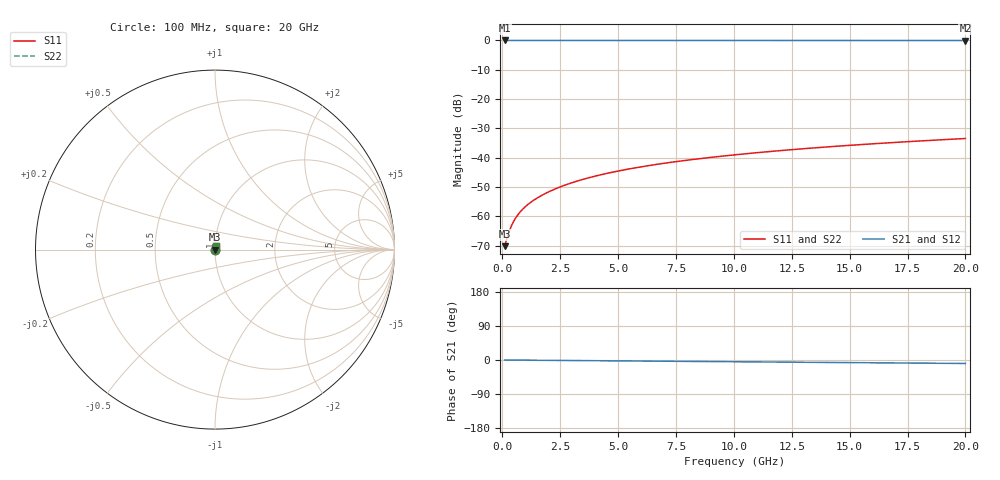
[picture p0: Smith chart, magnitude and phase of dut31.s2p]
! Touchstone file exported from HFSS 2026.1.0
!  File:  C:/ffzhzh/LocalFiles/Ansys_Project_Files/temp_train_TSV_31_1782958404_45308.aedt
!  Generated:  10:14:48 AM Jul  2, 2026
!  Design:  TSV
!  Project:  temp_train_TSV_31_1782958404_45308
! Variables:
!  h_bsmrdl = 2um
!  h_ox = 20um
!  h_rdl = 5um
!  h_sub = 95.06um
!  h_tmrdl = 5um
!  h_tsv = 95.06um
!  h_via = 3um
!  l_bsmrdl = 300um
!  l_sub = 413.84um
!  l_tmrdl = 200um
!  m_sub = 200um
!  pitch = 33.49um
!  r_tsv = 6.92um
!  s_tmrdl = 10um
!  w_bsmrdl = 18um
!  w_sub = 500um
!  w_tmrdl = 12um
!  x_tsv_center1 = 206um
!  x_tsv_center2 = 524um
!  x_tsv_center3 = 736um
!  x_tsv_center4 = 1054um
!  x_tsv_center5 = 1266um
!  x_tsv_center6 = 1584um
# GHz S MA R 50.000000
! Terminal data exported
! Port[1] = TSV1_1_T1
! Port[2] = TSV1_1_T2
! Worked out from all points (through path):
!   200 points, 100 MHz to 20 GHz, reference 50 ohm
!   highest |S21| = 0.00 dB at 100 MHz (marker M1); lowest = 0.0 dB at 20 GHz (marker M2)
!   group delay of S21, straight-line fit = 1.27 ps
!   lowest |S11| = -70.2 dB at 100 MHz (marker M3), VSWR 1.00, Z = 50 + j0.016 ohm
!   |S11| at or under -10 dB: start of sweep to end of sweep
!   |S22| runs from -70.2 to -33.4 dB; largest |S21 - S12| = 1.9e-15
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0.1  0.0003105 31.1  0.9997 -0.0  0.9997 -0.0  0.0003105 31.1
! Gamma 0 0 0 0
! Port Impedance 50 0 50 0
0.2  0.0004231 48.7  0.9997 -0.1  0.9997 -0.1  0.0004231 48.7
0.3  0.0005579 57.5  0.9997 -0.1  0.9997 -0.1  0.0005579 57.5
0.4  0.0006974 62.2  0.9997 -0.2  0.9997 -0.2  0.0006974 62.2
0.5  0.0008354 64.9  0.9996 -0.2  0.9996 -0.2  0.0008354 64.9
0.6  0.0009697 66.7  0.9996 -0.3  0.9996 -0.3  0.0009697 66.7
0.8  0.001226 68.9  0.9996 -0.4  0.9996 -0.4  0.001226 68.9
1.1  0.001588 71.0  0.9995 -0.5  0.9995 -0.5  0.001588 71.0
1.5  0.00205 73.0  0.9994 -0.7  0.9994 -0.7  0.00205 73.0
1.8  0.002391 74.1  0.9994 -0.8  0.9994 -0.8  0.002391 74.1
2.1  0.00273 75.0  0.9993 -1.0  0.9993 -1.0  0.00273 75.0
2.7  0.003405 76.3  0.9993 -1.3  0.9993 -1.3  0.003405 76.3
3.5  0.004296 77.3  0.9992 -1.6  0.9992 -1.6  0.004296 77.3
4.2  0.005065 77.7  0.9991 -2.0  0.9991 -2.0  0.005065 77.7
5  0.005932 78.0  0.999 -2.3  0.999 -2.3  0.005932 78.0
5.9  0.006893 78.2  0.9989 -2.7  0.9989 -2.7  0.006893 78.2
6.8  0.007844 78.3  0.9988 -3.1  0.9988 -3.1  0.007844 78.3
8.3  0.009411 78.3  0.9987 -3.8  0.9987 -3.8  0.009411 78.3
10.1  0.01127 78.1  0.9985 -4.6  0.9985 -4.6  0.01127 78.1
13.4  0.01465 77.5  0.9983 -6.2  0.9983 -6.2  0.01465 77.5
16.7  0.01799 76.6  0.998 -7.7  0.998 -7.7  0.01799 76.6
20  0.02127 75.4  0.9978 -9.2  0.9978 -9.2  0.02127 75.4
